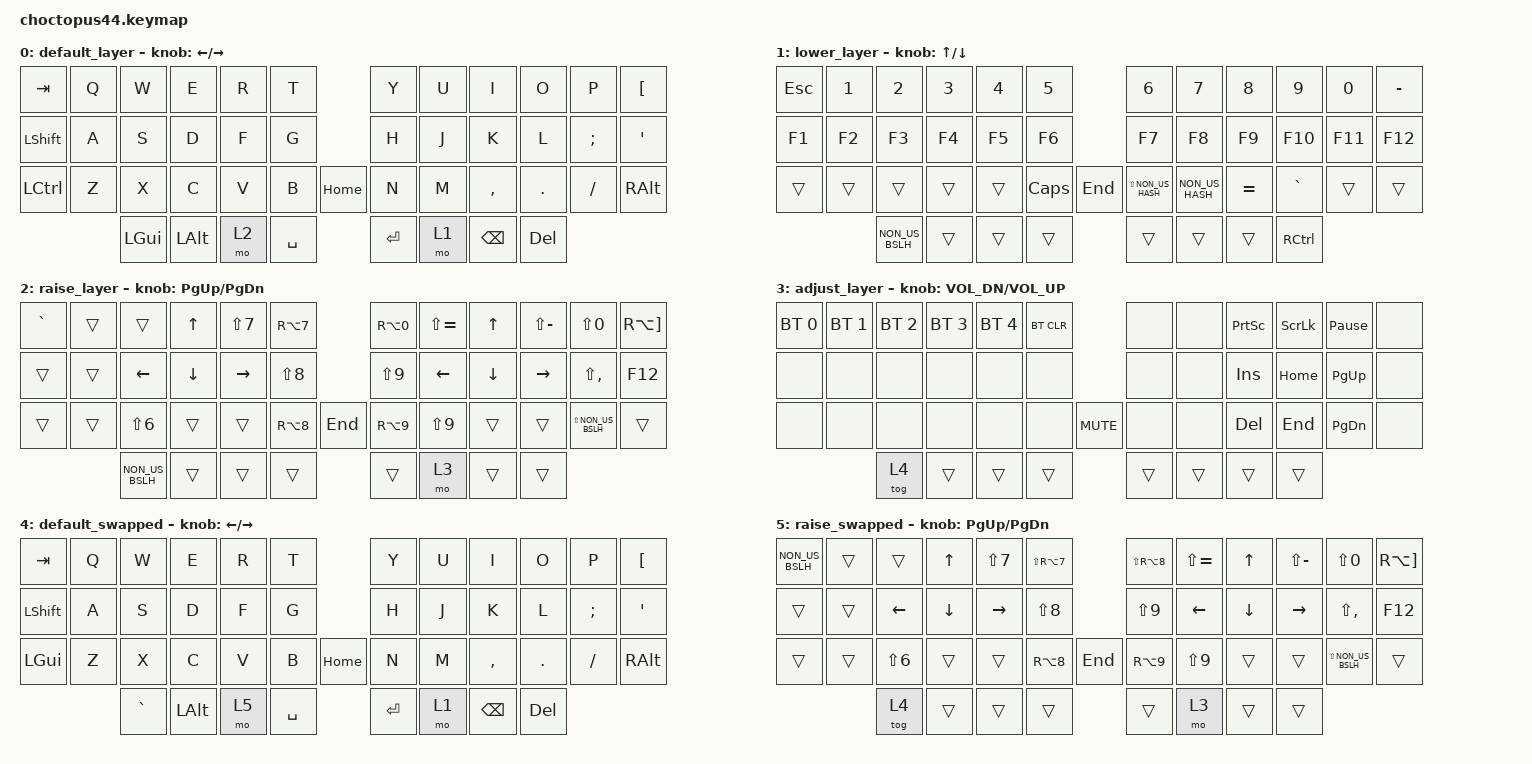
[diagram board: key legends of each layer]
/*
 * Copyright (c) 2021 The ZMK Contributors
 *
 * SPDX-License-Identifier: MIT
 */

#include <behaviors.dtsi>
#include <dt-bindings/zmk/keys.h>
#include <dt-bindings/zmk/bt.h>
#include <dt-bindings/zmk/rgb.h>

&mt {
    tapping-term-ms = <400>;
};

/ {
  keymap {
    compatible = "zmk,keymap";
    

    default_layer {
      bindings = <
        &kp TAB     &kp Q     &kp W       &kp E     &kp R    &kp T                &kp Y     &kp U     &kp I      &kp O    &kp P     &kp LBKT
        &kp LSHFT   &kp A     &kp S       &kp D     &kp F    &kp G                &kp H     &kp J     &kp K      &kp L    &kp SEMI  &kp SQT
        &kp LCTRL    &kp Z    &kp X       &kp C     &kp V    &kp B     &kp HOME   &kp N     &kp M     &kp COMMA  &kp DOT  &kp FSLH  &kp RALT
                              &kp LGUI   &kp LALT   &mo 2    &kp SPACE            &kp RET   &mo 1     &kp BSPC   &kp DEL
      >;
      sensor-bindings = <&inc_dec_kp LEFT RIGHT>;
    };
    
    lower_layer {
      bindings = <
        &kp ESC   &kp N1    &kp N2           &kp N3   &kp N4   &kp N5                          &kp N6              &kp N7            &kp N8      &kp N9      &kp N0    &kp MINUS
        &kp F1    &kp F2    &kp F3           &kp F4   &kp F5   &kp F6                          &kp F7              &kp F8            &kp F9      &kp F10     &kp F11   &kp F12
        &trans    &trans    &trans           &trans   &trans   &kp CAPS    &kp END             &kp LS(NON_US_HASH) &kp NON_US_HASH   &kp EQUAL   &kp GRAVE   &trans    &trans
                            &kp NON_US_BSLH  &trans   &trans   &trans                          &trans              &trans            &trans      &kp RCTRL
      >;
      sensor-bindings = <&inc_dec_kp UP DOWN>;
    };

    raise_layer {
      bindings = <
        &kp GRAVE   &trans           &trans            &kp UP          &kp LS(N7)  &kp RA(N7)                &kp RA(N0)            &kp LS(EQUAL)     &kp UP      &kp LS(MINUS)  &kp LS(N0)          &kp RA(RBKT)
        &trans      &trans           &kp LEFT          &kp DOWN        &kp RIGHT   &kp LS(N8)                &kp LS(N9)            &kp LEFT          &kp DOWN    &kp RIGHT      &kp LS(COMMA)       &kp F12
        &trans      &trans           &kp LS(N6)        &trans          &trans      &kp RA(N8)       &kp END  &kp RA(N9)            &kp LS(N9)        &trans      &trans         &kp LS(NON_US_BSLH) &trans
                                     &kp NON_US_BSLH   &trans          &trans      &trans                    &trans                &mo 3             &trans      &trans
      >;
      sensor-bindings = <&inc_dec_kp PG_UP PG_DN>;
    };

     adjust_layer {
      bindings = <
        &bt BT_SEL 0  &bt BT_SEL 1    &bt BT_SEL 2    &bt BT_SEL 3    &bt BT_SEL 4    &bt BT_CLR                &none         &none         &kp PSCRN     &kp SLCK    &kp PAUSE_BREAK   &none
        &none         &none           &none           &none           &none           &none                     &none         &none         &kp INSERT    &kp HOME    &kp PG_UP         &none
        &none         &none           &none           &none           &none           &none       &kp C_MUTE    &none         &none         &kp DEL       &kp END     &kp PG_DN         &none
                                      &tog 4          &trans          &trans          &trans                    &trans        &trans        &trans        &trans
      >;
      sensor-bindings = <&inc_dec_kp C_VOL_DN C_VOL_UP>;
    };

    // Default layer MAC
    default_swapped {
      bindings = <
        &kp TAB     &kp Q     &kp W       &kp E     &kp R    &kp T                &kp Y     &kp U     &kp I      &kp O    &kp P     &kp LBKT
        &kp LSHFT   &kp A     &kp S       &kp D     &kp F    &kp G                &kp H     &kp J     &kp K      &kp L    &kp SEMI  &kp SQT
        &kp LGUI     &kp Z    &kp X       &kp C     &kp V    &kp B     &kp HOME   &kp N     &kp M     &kp COMMA  &kp DOT  &kp FSLH  &kp RALT
                              &kp GRAVE  &kp LALT   &mo 5    &kp SPACE            &kp RET   &mo 1     &kp BSPC   &kp DEL
      >;
      sensor-bindings = <&inc_dec_kp LEFT RIGHT>;
    };

    // Raise layer with MAC
    raise_swapped {
      bindings = <
        &kp NON_US_BSLH &trans        &trans            &kp UP          &kp LS(N7)  &kp LS(RA(N7))            &kp LS(RA(N8))        &kp LS(EQUAL)     &kp UP      &kp LS(MINUS)  &kp LS(N0)          &kp RA(RBKT)
        &trans          &trans        &kp LEFT          &kp DOWN        &kp RIGHT   &kp LS(N8)                &kp LS(N9)            &kp LEFT          &kp DOWN    &kp RIGHT      &kp LS(COMMA)       &kp F12
        &trans          &trans        &kp LS(N6)        &trans          &trans      &kp RA(N8)       &kp END  &kp RA(N9)            &kp LS(N9)        &trans      &trans         &kp LS(NON_US_BSLH) &trans
                                      &tog 4            &trans          &trans      &trans                    &trans                &mo 3             &trans      &trans
      >;
      sensor-bindings = <&inc_dec_kp PG_UP PG_DN>;
    };

  };
};
